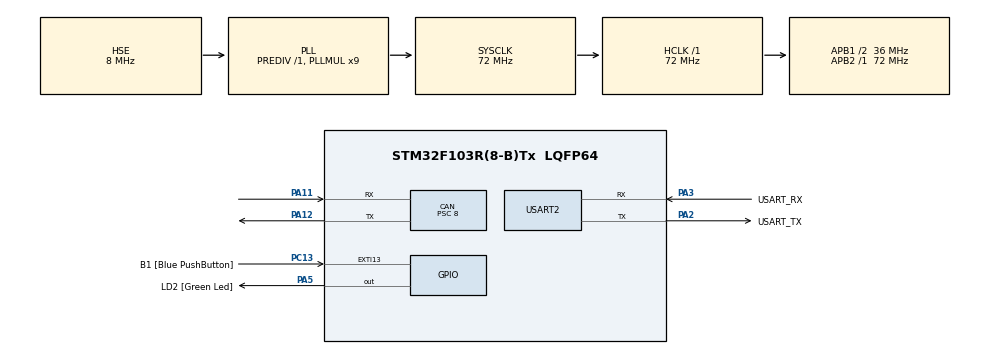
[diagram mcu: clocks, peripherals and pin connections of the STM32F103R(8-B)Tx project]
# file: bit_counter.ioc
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CAN.BS1=CAN_BS1_4TQ
CAN.BS2=CAN_BS2_4TQ
CAN.CalculateBaudRate=500000
CAN.CalculateTimeBit=2000
CAN.CalculateTimeQuantum=222.22222222222223
CAN.Prescaler=8
CAN.SJW=CAN_SJW_1TQ
Mcu.Family=STM32F1
Mcu.Name=STM32F103R(8-B)Tx
Mcu.Package=LQFP64
NVIC.CAN1_RX1_IRQn=true\:0\:0\:false\:false\:true\:true\:true\:true
NVIC.EXTI15_10_IRQn=true\:0\:0\:false\:false\:true\:true\:true\:true
NVIC.PriorityGroup=NVIC_PRIORITYGROUP_4
PA11.GPIO_PuPd=GPIO_PULLUP
PA11.Mode=CAN_Activate
PA11.Signal=CAN_RX
PA12.Mode=CAN_Activate
PA12.Signal=CAN_TX
PA13.GPIO_Label=TMS
PA13.Mode=Serial_Wire
PA13.Signal=SYS_JTMS-SWDIO
PA14.GPIO_Label=TCK
PA14.Mode=Serial_Wire
PA14.Signal=SYS_JTCK-SWCLK
PA2.GPIO_Label=USART_TX
PA2.GPIO_Mode=GPIO_MODE_AF_PP
PA2.GPIO_PuPd=GPIO_NOPULL
PA2.GPIO_Speed=GPIO_SPEED_FREQ_LOW
PA2.Mode=Asynchronous
PA2.Signal=USART2_TX
PA3.GPIO_Label=USART_RX
PA3.GPIO_Mode=GPIO_MODE_AF_PP
PA3.GPIO_PuPd=GPIO_NOPULL
PA3.GPIO_Speed=GPIO_SPEED_FREQ_LOW
PA3.Mode=Asynchronous
PA3.Signal=USART2_RX
PA5.GPIO_Label=LD2 [Green Led]
PA5.GPIO_ModeDefaultOutputPP=GPIO_MODE_OUTPUT_PP
PA5.GPIO_PuPd=GPIO_NOPULL
PA5.GPIO_Speed=GPIO_SPEED_FREQ_LOW
PA5.Signal=GPIO_Output
PB3.GPIO_Label=SWO
PB3.Signal=SYS_JTDO-TRACESWO
PC13-TAMPER-RTC.GPIO_Label=B1 [Blue PushButton]
PC13-TAMPER-RTC.GPIO_PuPd=GPIO_NOPULL
PC13-TAMPER-RTC.Signal=GPXTI13
PC14-OSC32_IN.Mode=LSE-External-Oscillator
PC14-OSC32_IN.Signal=RCC_OSC32_IN
PC15-OSC32_OUT.Mode=LSE-External-Oscillator
PC15-OSC32_OUT.Signal=RCC_OSC32_OUT
PD0-OSC_IN.Mode=HSE-External-Clock-Source
PD0-OSC_IN.Signal=RCC_OSC_IN
PD1-OSC_OUT.Mode=HSE-External-Clock-Source
PD1-OSC_OUT.Signal=RCC_OSC_OUT
ProjectManager.HeapSize=0x200
ProjectManager.StackSize=0x400
ProjectManager.TargetToolchain=STM32CubeIDE
RCC.AHBFreq_Value=72000000
RCC.APB1CLKDivider=RCC_HCLK_DIV2
RCC.APB1Freq_Value=36000000
RCC.APB1TimFreq_Value=72000000
RCC.APB2Freq_Value=72000000
RCC.APB2TimFreq_Value=72000000
RCC.HCLKFreq_Value=72000000
RCC.PLLMUL=RCC_PLL_MUL9
RCC.PLLSourceVirtual=RCC_PLLSOURCE_HSE
RCC.RTCClockSelection=RCC_RTCCLKSOURCE_LSE
RCC.SYSCLKFreq_VALUE=72000000
RCC.SYSCLKSource=RCC_SYSCLKSOURCE_PLLCLK
RCC.USBFreq_Value=72000000
USART2.VirtualMode=VM_ASYNC
board=NUCLEO-F103RB

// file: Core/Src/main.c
/* USER CODE BEGIN Header */
/**
 ******************************************************************************
 * @file           : main.c
 * @brief          : Main program body
 ******************************************************************************
 * @attention
 *
 * Copyright (c) 2024 STMicroelectronics.
 * All rights reserved.
 *
 * This software is licensed under terms that can be found in the LICENSE file
 * in the root directory of this software component.
 * If no LICENSE file comes with this software, it is provided AS-IS.
 *
 ******************************************************************************
 */
/* USER CODE END Header */
#include "main.h"
#include "can.h"
#include "usart.h"
#include "gpio.h"

/* USER CODE BEGIN Includes */
#include <stdlib.h>

/* USER CODE END Includes */

/* USER CODE BEGIN PV */
uint32_t bitCount = 0;
uint32_t count = 0;

/* USER CODE END PV */

void SystemClock_Config(void);
/* USER CODE BEGIN PFP */
uint32_t calculate_CAN_message_bits(CAN_msg_t *msg);

/* USER CODE END PFP */

int main(void)
{

  /* MCU Configuration--------------------------------------------------------*/

  /* Reset of all peripherals, Initializes the Flash interface and the Systick. */
  HAL_Init();

  /* Configure the system clock */
  SystemClock_Config();

  /* Initialize all configured peripherals */
  MX_GPIO_Init();
  MX_USART2_UART_Init();
  MX_CAN_Init();

  /* Infinite loop */
  while (1)
  {

	  //Generate 1000 mock CAN_msg_t
	  if(count < 1){
		  CAN_msg_t* test_msg = generateMockCAN(0x602, 3, 0);
		  bitCount += calculate_CAN_message_bits(test_msg);
		  free(test_msg);
		  count++;
	  }

  }
}

void SystemClock_Config(void)
{
  RCC_OscInitTypeDef RCC_OscInitStruct = {0};
  RCC_ClkInitTypeDef RCC_ClkInitStruct = {0};

  /** Initializes the RCC Oscillators according to the specified parameters
   * in the RCC_OscInitTypeDef structure.
   */
  RCC_OscInitStruct.OscillatorType = RCC_OSCILLATORTYPE_HSE;
  RCC_OscInitStruct.HSEState = RCC_HSE_BYPASS;
  RCC_OscInitStruct.HSEPredivValue = RCC_HSE_PREDIV_DIV1;
  RCC_OscInitStruct.HSIState = RCC_HSI_ON;
  RCC_OscInitStruct.PLL.PLLState = RCC_PLL_ON;
  RCC_OscInitStruct.PLL.PLLSource = RCC_PLLSOURCE_HSE;
  RCC_OscInitStruct.PLL.PLLMUL = RCC_PLL_MUL9;
  if (HAL_RCC_OscConfig(&RCC_OscInitStruct) != HAL_OK)
  {
    Error_Handler();
  }

  /** Initializes the CPU, AHB and APB buses clocks
   */
  RCC_ClkInitStruct.ClockType = RCC_CLOCKTYPE_HCLK | RCC_CLOCKTYPE_SYSCLK | RCC_CLOCKTYPE_PCLK1 | RCC_CLOCKTYPE_PCLK2;
  RCC_ClkInitStruct.SYSCLKSource = RCC_SYSCLKSOURCE_PLLCLK;
  RCC_ClkInitStruct.AHBCLKDivider = RCC_SYSCLK_DIV1;
  RCC_ClkInitStruct.APB1CLKDivider = RCC_HCLK_DIV2;
  RCC_ClkInitStruct.APB2CLKDivider = RCC_HCLK_DIV1;

  if (HAL_RCC_ClockConfig(&RCC_ClkInitStruct, FLASH_LATENCY_2) != HAL_OK)
  {
    Error_Handler();
  }
}

/* USER CODE BEGIN 4 */
// function to calculate the number of bits in a given CAN message

uint32_t calculate_CAN_message_bits(CAN_msg_t *msg)
{

  uint32_t bits = 0;

  bits += 1; // SOF (Start of Frame)

  if (msg->header.IDE == 0)
  {

    bits += 11; // Standard ID
  }
  else
  {

    bits += 29; // Extended ID

    bits += 1; // SRR (Substitute Remote Request)

    bits += 1; // Reserved bit (r1)
  }

  bits += 1; // RTR (Remote Transmission Request)

  bits += 1; // IDE (Identifier Extension)

  bits += 1; // Reserved bit (r0)

  bits += 4; // DLC (Data Length Code)

  bits += msg->header.DLC * 8; // Data Length Code field (msg->DLC * 8 bits)

  bits += 15; // CRC field

  bits += 1; // CRC delimiter

  bits += 1; // ACK slot

  bits += 1; // ACK delimiter

  bits += 7; // EOF (End of Frame)

  bits += 3; // IFS (Interframe Space)

  return bits;
}

/* USER CODE END 4 */

void Error_Handler(void)
{
  __disable_irq();
  while (1)
  {
  }
}
